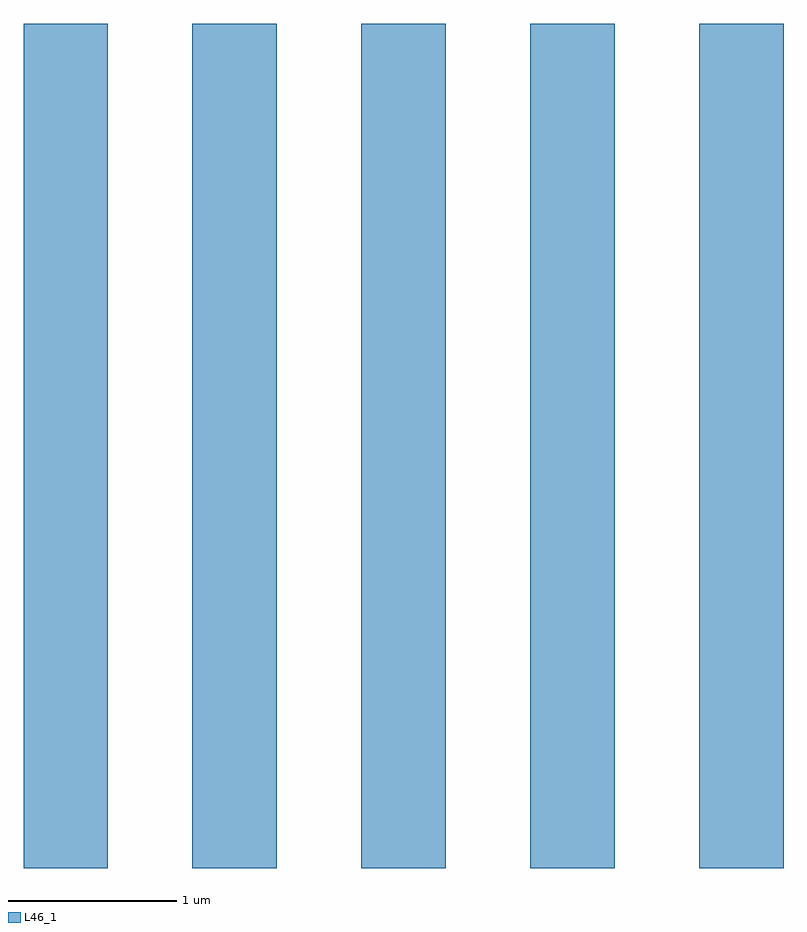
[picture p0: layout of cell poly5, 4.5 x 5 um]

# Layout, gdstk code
import gdstk
lib = gdstk.Library(unit=1e-6, precision=5e-11)
def R(c, l, rs):  # rectangles x0, y0, x1, y1
    for r in rs: c.add(gdstk.rectangle(r[:2], r[2:], *l))
L46_1 = (46, 1)

poly5 = lib.new_cell('poly5')
R(poly5, L46_1, [(0.25,0,0.75,5), (0.25,0,0.75,5), (0.25,0,0.75,5), (1.25,0,1.75,5), (1.25,0,1.75,5), (1.25,0,1.75,5), (2.25,0,2.75,5), (2.25,0,2.75,5), (2.25,0,2.75,5), (3.25,0,3.75,5), (3.25,0,3.75,5), (3.25,0,3.75,5), (4.25,0,4.75,5), (4.25,0,4.75,5), (4.25,0,4.75,5)])

lib.write_gds('poly5.gds')
